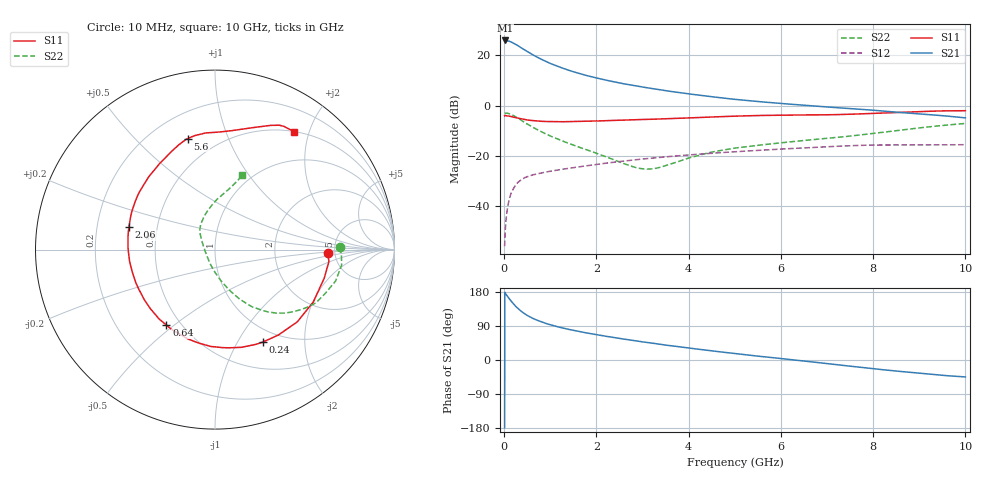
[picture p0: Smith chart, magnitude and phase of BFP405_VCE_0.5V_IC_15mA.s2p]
! Infineon Technologies  Discrete & RF Semiconductors
! BFP405
! VCE =  0.5 V,  IC =  15 mA
! Common Emitter S-Parameters:  Jan 2016
# GHz  S  MA  R  50
!  f  S11  S21  S12  S22
! GHz  MAG  ANG  MAG  ANG  MAG  ANG  MAG  ANG
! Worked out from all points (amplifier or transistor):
!   233 points, 10 MHz to 10 GHz, reference 50 ohm
!   highest |S21| = 25.9 dB at 20 MHz (marker M1)
!   |S21| within 3 dB of that: start of sweep to 379.2 MHz
!   unconditionally stable (mu >= 1): start of sweep to 62.32 MHz; 859.8 MHz to end of sweep
!   at 200 MHz: K = 0.53, MSG = 29.0 dB, |S12| = -33.1 dB
!   at 1.74 GHz: K = 1.53, MAG = 13.8 dB, |S12| = -24.1 dB
!   at 10 GHz: K = 1.97, MAG = -0.3 dB, |S12| = -15.6 dB
!   S11 on the Smith chart (normalised r, x): 10 MHz: 4.35, -0.30; 240 MHz: 0.83, -1.28; 640 MHz: 0.42, -0.47; 2.06 GHz: 0.34, +0.11; 5.6 GHz: 0.35, +0.72; 10 GHz: 0.50, +1.77
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0.01  0.6278 -1.9  19.71 -178.8  0.0016 58.2  0.696 1.0
0.02  0.6383 -5.9  19.75 176.7  0.0028 91.9  0.7052 -2.4
0.1  0.6207 -28.1  19.23 163.3  0.0124 78.1  0.6943 -14.6
0.15  0.6101 -41.3  18.48 155.6  0.0181 70.8  0.6602 -21.9
0.2  0.5925 -53.5  17.55 148.2  0.0222 66.0  0.636 -27.8
0.24  0.5799 -62.6  16.77 142.9  0.0255 62.1  0.6037 -32.3
0.34  0.5525 -82.0  14.71 131.6  0.0318 54.6  0.5328 -41.4
0.45  0.5288 -99.8  12.7 121.6  0.037 48.5  0.4561 -49.6
0.56  0.5093 -113.8  11.05 113.9  0.0402 44.9  0.4001 -54.8
0.64  0.5004 -122.7  10.03 109.1  0.0423 42.9  0.3634 -58.3
0.8  0.488 -137.4  8.385 100.8  0.0458 40.2  0.3036 -63.9
1  0.479 -151.5  6.901 92.9  0.0495 38.5  0.2489 -69.4
1.3  0.4779 -167.5  5.418 83.5  0.0548 37.4  0.1916 -76.7
1.68  0.4855 177.3  4.221 73.9  0.0616 36.5  0.1429 -85.7
2.06  0.4957 165.3  3.445 65.7  0.0686 35.5  0.1078 -96.4
2.6  0.5147 151.6  2.709 55.1  0.0789 33.3  0.0699 -119.9
3.4  0.5431 134.5  2.045 41.2  0.0938 28.6  0.0599 174.9
5.1  0.6208 108.2  1.305 15.7  0.1222 16.6  0.1465 124.7
5.6  0.637 103.7  1.183 9.0  0.1301 12.8  0.166 117.6
6.8  0.6531 90.5  0.969 -6.7  0.1488 3.1  0.2146 102.2
8.4  0.7245 70.6  0.753 -28.0  0.1648 -13.1  0.309 82.2
10  0.7913 56.1  0.57 -44.7  0.1668 -24.4  0.4414 69.9
